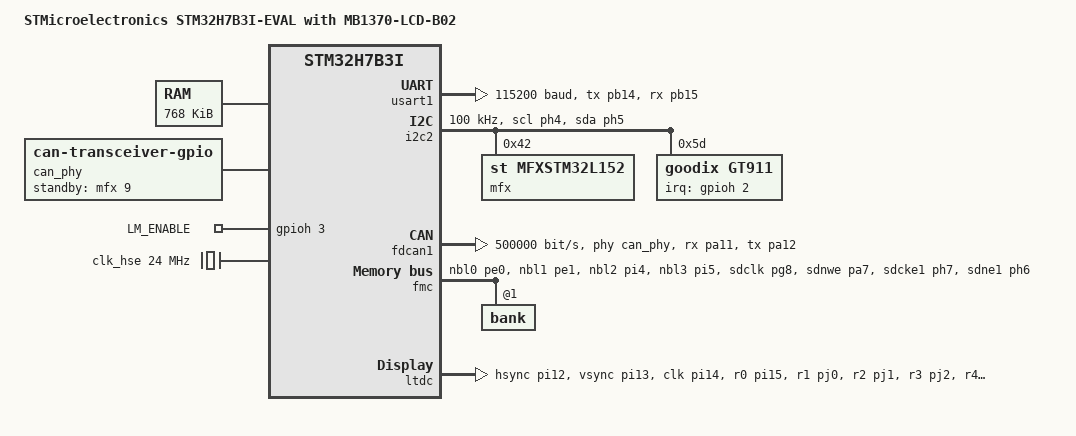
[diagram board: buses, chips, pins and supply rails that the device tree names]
/* SPDX-License-Identifier: Apache-2.0 */

/dts-v1/;
#include <st/h7/stm32h7b3Xi.dtsi>
#include <st/h7/stm32h7b3lihxq-pinctrl.dtsi>
#include <zephyr/dt-bindings/display/panel.h>
#include <zephyr/dt-bindings/memory-controller/stm32-fmc-sdram.h>

/ {
	model = "STMicroelectronics STM32H7B3I-EVAL with MB1370-LCD-B02";
	compatible = "st,stm32h7b3i-eval";

	chosen {
		zephyr,console = &usart1;
		zephyr,shell-uart = &usart1;
		zephyr,sram = &sram0;
		zephyr,flash = &flash0;
		zephyr,display = &ltdc;
		zephyr,canbus = &fdcan1;
		zephyr,touch = &gt911;
	};

	/* Contiguous AXI SRAM1 and SRAM2 reserved for the LTDC framebuffer. */
	display_ram: memory@24040000 {
		compatible = "zephyr,memory-region", "mmio-sram";
		device_type = "memory";
		reg = <0x24040000 DT_SIZE_K(768)>;
		zephyr,memory-region = "DISPLAY_RAM";
	};

	can_phy: can-phy {
		compatible = "can-transceiver-gpio";
		standby-gpios = <&mfx 9 GPIO_ACTIVE_HIGH>;
		max-bitrate = <5000000>;
		#phy-cells = <0>;
	};

	leds {
		compatible = "gpio-leds";

		/* Not actually an LED, but used as a node from which to fetch gpio_dt_spec in application */
		/* TODO: Change GPIO port and pin according to the actual hardware */
		lm_enable: led-1 {
			gpios = <&gpioh 3 (GPIO_OPEN_DRAIN | GPIO_PULL_UP)>;
			label = "LM_ENABLE";
		};
	};
};

&clk_hse {
	clock-frequency = <DT_FREQ_M(24)>;
	status = "okay";
};

&pll {
	div-m = <12>;
	mul-n = <280>;
	div-p = <2>;
	div-q = <7>;
	div-r = <2>;
	clocks = <&clk_hse>;
	status = "okay";
};

/* 24 MHz / 12 * 400 / 24 = 33.333 MHz, per the ST LCD BSP. */
&pll3 {
	div-m = <12>;
	mul-n = <400>;
	div-p = <2>;
	div-q = <2>;
	div-r = <24>;
	clocks = <&clk_hse>;
	status = "okay";
};

&rcc {
	clocks = <&pll>;
	clock-frequency = <DT_FREQ_M(280)>;
	d1cpre = <1>;
	hpre = <1>;
	d1ppre = <2>;
	d2ppre1 = <2>;
	d2ppre2 = <2>;
	d3ppre = <2>;
};

&pwr {
	power-supply = "smps-direct";
};

&usart1 {
	pinctrl-0 = <&usart1_tx_pb14 &usart1_rx_pb15>;
	pinctrl-names = "default";
	current-speed = <115200>;
	status = "okay";
};

&i2c2 {
	pinctrl-0 = <&i2c2_scl_ph4 &i2c2_sda_ph5>;
	pinctrl-names = "default";
	clock-frequency = <I2C_BITRATE_STANDARD>;
	status = "okay";

	mfx: gpio@42 {
		compatible = "st,mfxstm32l152";
		reg = <0x42>;
		gpio-controller;
		#gpio-cells = <2>;
		ngpios = <16>;
	};

	gt911: touchscreen@5d {
		compatible = "goodix,gt911";
		reg = <0x5d>;
		alt-addr = <0x14>;
		irq-gpios = <&gpioh 2 GPIO_ACTIVE_HIGH>;
		screen-width = <800>;
		screen-height = <480>;
	};
};

&fdcan1 {
	/* CN22 uses PA11/PA12 when solder bridges SB35 and SB36 are fitted. */
	pinctrl-0 = <&fdcan1_rx_pa11 &fdcan1_tx_pa12>;
	pinctrl-names = "default";
	clocks = <&rcc STM32_CLOCK(APB1_2, 8)>, <&rcc STM32_SRC_PLL1_Q FDCAN_SEL(1)>;
	phys = <&can_phy>;
	bitrate = <500000>;
	status = "okay";
};

&fmc {
	pinctrl-0 = <&fmc_nbl0_pe0 &fmc_nbl1_pe1 &fmc_nbl2_pi4 &fmc_nbl3_pi5
		     &fmc_sdclk_pg8 &fmc_sdnwe_pa7 &fmc_sdcke1_ph7 &fmc_sdne1_ph6
		     &fmc_sdnras_pf11 &fmc_sdncas_pg15
		     &fmc_a0_pf0 &fmc_a1_pf1 &fmc_a2_pf2 &fmc_a3_pf3 &fmc_a4_pf4
		     &fmc_a5_pf5 &fmc_a6_pf12 &fmc_a7_pf13 &fmc_a8_pf14
		     &fmc_a9_pf15 &fmc_a10_pg0 &fmc_a11_pg1
		     &fmc_a14_pg4 &fmc_a15_pg5
		     &fmc_d0_pd14 &fmc_d1_pd15 &fmc_d2_pd0 &fmc_d3_pd1
		     &fmc_d4_pe7 &fmc_d5_pe8 &fmc_d6_pe9 &fmc_d7_pe10
		     &fmc_d8_pe11 &fmc_d9_pe12 &fmc_d10_pe13 &fmc_d11_pe14
		     &fmc_d12_pe15 &fmc_d13_pd8 &fmc_d14_pd9 &fmc_d15_pd10
		     &fmc_d16_ph8 &fmc_d17_ph9 &fmc_d18_ph10 &fmc_d19_ph11
		     &fmc_d20_ph12 &fmc_d21_ph13 &fmc_d22_ph14 &fmc_d23_ph15
		     &fmc_d24_pi0 &fmc_d25_pi1 &fmc_d26_pi2 &fmc_d27_pi3
		     &fmc_d28_pi6 &fmc_d29_pi7 &fmc_d30_pi9 &fmc_d31_pi10>;
	pinctrl-names = "default";
	status = "okay";

	sdram {
		status = "okay";
		power-up-delay = <100>;
		num-auto-refresh = <8>;
		mode-register = <0x230>;
		/* 64 ms / 4096 rows at 280 MHz / 3, minus controller margin. */
		refresh-rate = <1438>;

		bank@1 {
			reg = <1>;
			st,sdram-control = <STM32_FMC_SDRAM_NC_9 STM32_FMC_SDRAM_NR_12
					    STM32_FMC_SDRAM_MWID_32 STM32_FMC_SDRAM_NB_4
					    STM32_FMC_SDRAM_CAS_3 STM32_FMC_SDRAM_SDCLK_PERIOD_3
					    STM32_FMC_SDRAM_RBURST_ENABLE STM32_FMC_SDRAM_RPIPE_0>;
			st,sdram-timing = <2 7 4 7 2 2 2>;
		};
	};
};

#define LCD_PIN_HIGH_SPEED(pin) &pin { slew-rate = "high-speed"; };
LCD_PIN_HIGH_SPEED(ltdc_hsync_pi12)
LCD_PIN_HIGH_SPEED(ltdc_vsync_pi13)
LCD_PIN_HIGH_SPEED(ltdc_clk_pi14)
LCD_PIN_HIGH_SPEED(ltdc_r0_pi15)
LCD_PIN_HIGH_SPEED(ltdc_r1_pj0)
LCD_PIN_HIGH_SPEED(ltdc_r2_pj1)
LCD_PIN_HIGH_SPEED(ltdc_r3_pj2)
LCD_PIN_HIGH_SPEED(ltdc_r4_pj3)
LCD_PIN_HIGH_SPEED(ltdc_r5_pj4)
LCD_PIN_HIGH_SPEED(ltdc_r6_pj5)
LCD_PIN_HIGH_SPEED(ltdc_r7_pj6)
LCD_PIN_HIGH_SPEED(ltdc_g0_pj7)
LCD_PIN_HIGH_SPEED(ltdc_g1_pj8)
LCD_PIN_HIGH_SPEED(ltdc_g2_pj9)
LCD_PIN_HIGH_SPEED(ltdc_g3_pj10)
LCD_PIN_HIGH_SPEED(ltdc_g4_pj11)
LCD_PIN_HIGH_SPEED(ltdc_g5_pk0)
LCD_PIN_HIGH_SPEED(ltdc_g6_pk1)
LCD_PIN_HIGH_SPEED(ltdc_g7_pk2)
LCD_PIN_HIGH_SPEED(ltdc_b0_pj12)
LCD_PIN_HIGH_SPEED(ltdc_b1_pj13)
LCD_PIN_HIGH_SPEED(ltdc_b2_pj14)
LCD_PIN_HIGH_SPEED(ltdc_b3_pj15)
LCD_PIN_HIGH_SPEED(ltdc_b4_pk3)
LCD_PIN_HIGH_SPEED(ltdc_b5_pk4)
LCD_PIN_HIGH_SPEED(ltdc_b6_pk5)
LCD_PIN_HIGH_SPEED(ltdc_b7_pk6)
LCD_PIN_HIGH_SPEED(ltdc_de_pk7)
#undef LCD_PIN_HIGH_SPEED

&ltdc {
	pinctrl-0 = <&ltdc_hsync_pi12 &ltdc_vsync_pi13 &ltdc_clk_pi14 &ltdc_r0_pi15
		     &ltdc_r1_pj0 &ltdc_r2_pj1 &ltdc_r3_pj2 &ltdc_r4_pj3
		     &ltdc_r5_pj4 &ltdc_r6_pj5 &ltdc_r7_pj6 &ltdc_g0_pj7
		     &ltdc_g1_pj8 &ltdc_g2_pj9 &ltdc_g3_pj10 &ltdc_g4_pj11
		     &ltdc_g5_pk0 &ltdc_g6_pk1 &ltdc_g7_pk2 &ltdc_b0_pj12
		     &ltdc_b1_pj13 &ltdc_b2_pj14 &ltdc_b3_pj15 &ltdc_b4_pk3
		     &ltdc_b5_pk4 &ltdc_b6_pk5 &ltdc_b7_pk6 &ltdc_de_pk7>;
	pinctrl-names = "default";
	bl-ctrl-gpios = <&gpioa 1 GPIO_ACTIVE_HIGH>;
	/* The LTDC binding uses this property to select the framebuffer region. */
	ext-sdram = <&display_ram>;
	width = <800>;
	height = <480>;
	pixel-format = <PANEL_PIXEL_FORMAT_RGB_888>;
	status = "okay";

	display-timings {
		compatible = "zephyr,panel-timing";
		hsync-active = <0>;
		vsync-active = <0>;
		de-active = <0>;
		pixelclk-active = <0>;
		hsync-len = <46>;
		vsync-len = <23>;
		hback-porch = <2>;
		hfront-porch = <210>;
		vback-porch = <2>;
		vfront-porch = <22>;
	};
};
